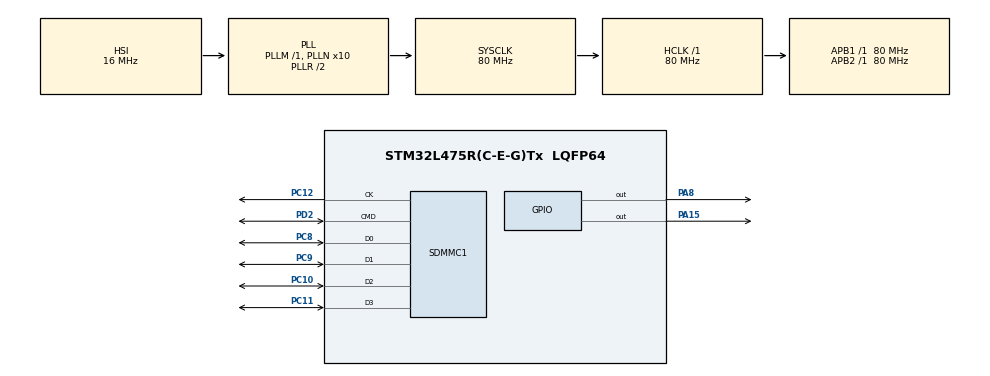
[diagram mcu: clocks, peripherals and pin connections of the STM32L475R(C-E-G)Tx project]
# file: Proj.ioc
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Mcu.Family=STM32L4
RCC.MSI_VALUE=4000000
RCC.PLLSourceVirtual=RCC_PLLSOURCE_HSI
RCC.CortexFreq_Value=80000000
PC10.GPIO_PuPd=GPIO_PULLUP
PD2.GPIO_PuPd=GPIO_PULLUP
VP_FATFS_VS_SDIO.Mode=SDIO
PC12.Signal=SDMMC1_CK
PC11.Signal=SDMMC1_D3
PC10.Signal=SDMMC1_D2
PC8.Signal=SDMMC1_D0
PC10.Mode=SD_4_bits_Wide_bus
PA15\ (JTDI).Signal=GPIO_Output
RCC.SYSCLKSource=RCC_SYSCLKSOURCE_PLLCLK
ProjectManager.StackSize=0x400
PC11.GPIO_PuPd=GPIO_PULLUP
ProjectManager.TargetToolchain=STM32CubeIDE
RCC.HCLKFreq_Value=80000000
RCC.APB2TimFreq_Value=80000000
RCC.USBFreq_Value=40000000
RCC.LSE_VALUE=32768
RCC.AHBFreq_Value=80000000
PD2.Mode=SD_4_bits_Wide_bus
RCC.HSE_VALUE=8000000
PC12.Mode=SD_4_bits_Wide_bus
board=custom
RCC.VCOOutputFreq_Value=160000000
RCC.APB2Freq_Value=80000000
RCC.ADCFreq_Value=80000000
PC9.Mode=SD_4_bits_Wide_bus
PC9.GPIO_PuPd=GPIO_PULLUP
PA8.Signal=GPIO_Output
Mcu.Name=STM32L475R(C-E-G)Tx
FATFS._MAX_SS=4096
PC8.Mode=SD_4_bits_Wide_bus
PC8.GPIO_PuPd=GPIO_PULLUP
RCC.SYSCLKFreq_VALUE=80000000
Mcu.Package=LQFP64
ProjectManager.HeapSize=0x200
PC11.Mode=SD_4_bits_Wide_bus
RCC.HSI_VALUE=16000000
NVIC.PriorityGroup=NVIC_PRIORITYGROUP_4
RCC.PLLN=10
RCC.APB1TimFreq_Value=80000000
PC9.Signal=SDMMC1_D1
PD2.Signal=SDMMC1_CMD
RCC.APB1Freq_Value=80000000
RCC.PLLSAI1Q=RCC_PLLQ_DIV4
RCC.PLLSAI1N=10

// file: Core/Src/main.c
/* USER CODE BEGIN Header */
/**
  ******************************************************************************
  * @file           : main.c
  * @brief          : Main program body
  ******************************************************************************
  * @attention
  *
  * <h2><center>&copy; Copyright (c) 2021 STMicroelectronics.
  * All rights reserved.</center></h2>
  *
  * This software component is licensed by ST under BSD 3-Clause license,
  * the "License"; You may not use this file except in compliance with the
  * License. You may obtain a copy of the License at:
  *                        opensource.org/licenses/BSD-3-Clause
  *
  ******************************************************************************
  */
/* USER CODE END Header */
#include "main.h"
#include "fatfs.h"

SD_HandleTypeDef hsd1;

void SystemClock_Config(void);
static void MX_GPIO_Init(void);
static void MX_SDMMC1_SD_Init(void);

/* USER CODE BEGIN 0 */
FATFS SDFatFs;  /* File system object for SD card logical drive */
FIL MyFile;     /* File object */
char SD_Path[4];  /* SD logical drive path */
FIL MyAudioFile;
FRESULT res_mount;
FRESULT res_open_txt;
FRESULT res_read_txt;
FRESULT res_write_txt;
FRESULT res_open_audio;
void __attribute__((optimize("O0"))) TestSpeedReadSD()
{
	HAL_GPIO_WritePin(GPIOA, GPIO_PIN_8, GPIO_PIN_SET);
	  res_mount = f_mount(&SDFatFs, (TCHAR const*)SD_Path, 1);
		 if(res_mount != FR_OK)
		 {
			 HAL_GPIO_WritePin(GPIOA, GPIO_PIN_15, GPIO_PIN_SET);
		    Error_Handler();

		 }

		  else
		  {

			  //текст
			  uint8_t arr[] = {0, 1, 2};
			  uint8_t arrrd[20];
			  uint8_t* bw;
			  res_open_txt = f_open(&MyFile, "adr.txt", FA_READ|FA_WRITE);
			  res_read_txt = f_read(&MyFile, arrrd, 10, bw);
			  res_write_txt = f_write(&MyFile, arr, 3, bw);

			  //звук
//			  uint8_t path[] = "ClearDay.wav";
			  uint8_t path[] = "audio.wav";
			  res_open_audio = f_open(&MyAudioFile, (char*)path, FA_READ);

			  asm("nop");
		  }
}
/* USER CODE END 0 */

int main(void)
{

  /* MCU Configuration--------------------------------------------------------*/

  /* Reset of all peripherals, Initializes the Flash interface and the Systick. */
  HAL_Init();

  /* Configure the system clock */
  SystemClock_Config();

  /* Initialize all configured peripherals */
  MX_GPIO_Init();
  MX_SDMMC1_SD_Init();
  MX_FATFS_Init();
  /* USER CODE BEGIN 2 */
  HAL_Delay(5000);
  TestSpeedReadSD();
  /* USER CODE END 2 */

  /* Infinite loop */
  while (1)
  {

  }
}

void SystemClock_Config(void)
{
  RCC_OscInitTypeDef RCC_OscInitStruct = {0};
  RCC_ClkInitTypeDef RCC_ClkInitStruct = {0};
  RCC_PeriphCLKInitTypeDef PeriphClkInit = {0};

  /** Initializes the RCC Oscillators according to the specified parameters
  * in the RCC_OscInitTypeDef structure.
  */
  RCC_OscInitStruct.OscillatorType = RCC_OSCILLATORTYPE_HSI;
  RCC_OscInitStruct.HSIState = RCC_HSI_ON;
  RCC_OscInitStruct.HSICalibrationValue = RCC_HSICALIBRATION_DEFAULT;
  RCC_OscInitStruct.PLL.PLLState = RCC_PLL_ON;
  RCC_OscInitStruct.PLL.PLLSource = RCC_PLLSOURCE_HSI;
  RCC_OscInitStruct.PLL.PLLM = 1;
  RCC_OscInitStruct.PLL.PLLN = 10;
  RCC_OscInitStruct.PLL.PLLP = RCC_PLLP_DIV7;
  RCC_OscInitStruct.PLL.PLLQ = RCC_PLLQ_DIV2;
  RCC_OscInitStruct.PLL.PLLR = RCC_PLLR_DIV2;
  if (HAL_RCC_OscConfig(&RCC_OscInitStruct) != HAL_OK)
  {
    Error_Handler();
  }
  /** Initializes the CPU, AHB and APB buses clocks
  */
  RCC_ClkInitStruct.ClockType = RCC_CLOCKTYPE_HCLK|RCC_CLOCKTYPE_SYSCLK
                              |RCC_CLOCKTYPE_PCLK1|RCC_CLOCKTYPE_PCLK2;
  RCC_ClkInitStruct.SYSCLKSource = RCC_SYSCLKSOURCE_PLLCLK;
  RCC_ClkInitStruct.AHBCLKDivider = RCC_SYSCLK_DIV1;
  RCC_ClkInitStruct.APB1CLKDivider = RCC_HCLK_DIV1;
  RCC_ClkInitStruct.APB2CLKDivider = RCC_HCLK_DIV1;

  if (HAL_RCC_ClockConfig(&RCC_ClkInitStruct, FLASH_LATENCY_4) != HAL_OK)
  {
    Error_Handler();
  }
  PeriphClkInit.PeriphClockSelection = RCC_PERIPHCLK_SDMMC1;
  PeriphClkInit.Sdmmc1ClockSelection = RCC_SDMMC1CLKSOURCE_PLLSAI1;
  PeriphClkInit.PLLSAI1.PLLSAI1Source = RCC_PLLSOURCE_HSI;
  PeriphClkInit.PLLSAI1.PLLSAI1M = 1;
  PeriphClkInit.PLLSAI1.PLLSAI1N = 10;
  PeriphClkInit.PLLSAI1.PLLSAI1P = RCC_PLLP_DIV7;
  PeriphClkInit.PLLSAI1.PLLSAI1Q = RCC_PLLQ_DIV4;
  PeriphClkInit.PLLSAI1.PLLSAI1R = RCC_PLLR_DIV2;
  PeriphClkInit.PLLSAI1.PLLSAI1ClockOut = RCC_PLLSAI1_48M2CLK;
  if (HAL_RCCEx_PeriphCLKConfig(&PeriphClkInit) != HAL_OK)
  {
    Error_Handler();
  }
  /** Configure the main internal regulator output voltage
  */
  if (HAL_PWREx_ControlVoltageScaling(PWR_REGULATOR_VOLTAGE_SCALE1) != HAL_OK)
  {
    Error_Handler();
  }
}

static void MX_SDMMC1_SD_Init(void)
{

  hsd1.Instance = SDMMC1;
  hsd1.Init.ClockEdge = SDMMC_CLOCK_EDGE_RISING;
  hsd1.Init.ClockBypass = SDMMC_CLOCK_BYPASS_DISABLE;
  hsd1.Init.ClockPowerSave = SDMMC_CLOCK_POWER_SAVE_DISABLE;
  hsd1.Init.BusWide = SDMMC_BUS_WIDE_1B;
  hsd1.Init.HardwareFlowControl = SDMMC_HARDWARE_FLOW_CONTROL_DISABLE;
  hsd1.Init.ClockDiv = 0;

}

static void MX_GPIO_Init(void)
{
  GPIO_InitTypeDef GPIO_InitStruct = {0};

  /* GPIO Ports Clock Enable */
  __HAL_RCC_GPIOC_CLK_ENABLE();
  __HAL_RCC_GPIOA_CLK_ENABLE();
  __HAL_RCC_GPIOD_CLK_ENABLE();

  /*Configure GPIO pin Output Level */
  HAL_GPIO_WritePin(GPIOA, GPIO_PIN_8|GPIO_PIN_15, GPIO_PIN_RESET);

  /*Configure GPIO pins : PA8 PA15 */
  GPIO_InitStruct.Pin = GPIO_PIN_8|GPIO_PIN_15;
  GPIO_InitStruct.Mode = GPIO_MODE_OUTPUT_PP;
  GPIO_InitStruct.Pull = GPIO_NOPULL;
  GPIO_InitStruct.Speed = GPIO_SPEED_FREQ_LOW;
  HAL_GPIO_Init(GPIOA, &GPIO_InitStruct);

}

void Error_Handler(void)
{
  __disable_irq();
  while (1)
  {
  }
}

/************************ (C) COPYRIGHT STMicroelectronics *****END OF FILE****/
